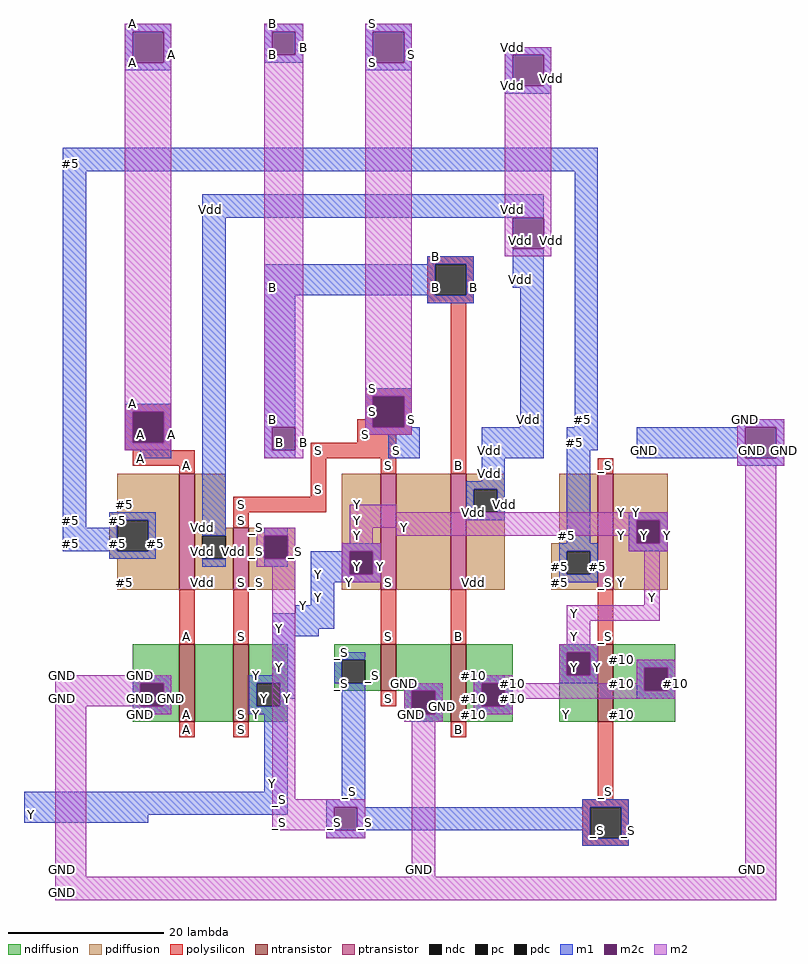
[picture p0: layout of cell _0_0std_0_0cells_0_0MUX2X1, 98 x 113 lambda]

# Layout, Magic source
magic
tech sky130l
<< ndiffusion >>
rect 23 31 29 36
rect 23 28 24 31
rect 27 28 29 31
rect 23 26 29 28
rect 31 26 36 36
rect 38 31 43 36
rect 38 28 39 31
rect 42 28 43 31
rect 49 34 55 36
rect 49 31 50 34
rect 53 31 55 34
rect 49 30 55 31
rect 57 30 64 36
rect 38 26 43 28
rect 58 27 59 30
rect 62 27 64 30
rect 58 26 64 27
rect 66 31 72 36
rect 66 28 68 31
rect 71 28 72 31
rect 66 26 72 28
rect 78 35 83 36
rect 78 32 79 35
rect 82 32 83 35
rect 78 26 83 32
rect 85 33 93 36
rect 85 30 89 33
rect 92 30 93 33
rect 85 26 93 30
<< ndc >>
rect 24 28 27 31
rect 39 28 42 31
rect 50 31 53 34
rect 59 27 62 30
rect 68 28 71 31
rect 79 32 82 35
rect 89 30 92 33
<< ntransistor >>
rect 29 26 31 36
rect 36 26 38 36
rect 55 30 57 36
rect 64 26 66 36
rect 83 26 85 36
<< pdiffusion >>
rect 21 53 29 58
rect 20 52 29 53
rect 20 48 21 52
rect 25 48 29 52
rect 20 47 29 48
rect 21 43 29 47
rect 31 51 35 58
rect 31 50 36 51
rect 31 47 32 50
rect 35 47 36 50
rect 31 43 36 47
rect 38 50 44 51
rect 38 47 40 50
rect 43 47 44 50
rect 38 43 44 47
rect 50 48 55 58
rect 50 45 51 48
rect 54 45 55 48
rect 50 43 55 45
rect 57 43 64 58
rect 66 56 71 58
rect 66 53 67 56
rect 70 53 71 56
rect 66 43 71 53
rect 78 49 83 58
rect 77 48 83 49
rect 77 45 79 48
rect 82 45 83 48
rect 77 43 83 45
rect 85 52 92 58
rect 85 49 88 52
rect 91 49 92 52
rect 85 43 92 49
<< pdc >>
rect 21 48 25 52
rect 32 47 35 50
rect 40 47 43 50
rect 51 45 54 48
rect 67 53 70 56
rect 79 45 82 48
rect 88 49 91 52
<< ptransistor >>
rect 29 43 31 58
rect 36 43 38 51
rect 55 43 57 58
rect 64 43 66 58
rect 83 43 85 58
<< polysilicon >>
rect 61 85 67 86
rect 61 81 62 85
rect 66 81 67 85
rect 61 80 67 81
rect 53 68 59 69
rect 22 66 28 67
rect 22 62 23 66
rect 27 62 28 66
rect 53 65 54 68
rect 52 64 54 65
rect 58 64 59 68
rect 52 63 59 64
rect 52 62 57 63
rect 22 61 28 62
rect 23 59 31 61
rect 29 58 31 59
rect 46 60 57 62
rect 46 55 48 60
rect 55 58 57 60
rect 64 58 66 80
rect 83 58 85 60
rect 36 53 48 55
rect 36 51 38 53
rect 29 36 31 43
rect 36 36 38 43
rect 55 36 57 43
rect 64 36 66 43
rect 83 36 85 43
rect 55 28 57 30
rect 29 24 31 26
rect 36 24 38 26
rect 64 24 66 26
rect 83 16 85 26
rect 81 15 87 16
rect 81 11 82 15
rect 86 11 87 15
rect 81 10 87 11
<< pc >>
rect 62 81 66 85
rect 23 62 27 66
rect 54 64 58 68
rect 82 11 86 15
<< m1 >>
rect 22 115 28 116
rect 22 111 23 115
rect 27 111 28 115
rect 40 115 45 116
rect 40 112 41 115
rect 44 112 45 115
rect 40 111 45 112
rect 53 115 59 116
rect 53 111 54 115
rect 58 111 59 115
rect 22 110 28 111
rect 53 110 59 111
rect 71 112 77 113
rect 71 108 72 112
rect 76 108 77 112
rect 71 107 77 108
rect 14 97 83 100
rect 14 51 17 97
rect 32 91 76 94
rect 22 66 28 67
rect 22 62 23 66
rect 27 62 28 66
rect 22 61 28 62
rect 24 60 28 61
rect 20 52 26 53
rect 20 51 21 52
rect 14 48 21 51
rect 25 48 26 52
rect 20 47 26 48
rect 32 50 35 91
rect 61 85 67 86
rect 40 81 62 85
rect 66 81 67 85
rect 72 82 76 87
rect 40 64 44 81
rect 61 80 67 81
rect 40 61 41 64
rect 53 68 59 69
rect 53 64 54 68
rect 58 64 59 68
rect 73 64 76 82
rect 80 64 83 97
rect 101 64 107 65
rect 53 63 60 64
rect 40 60 44 61
rect 56 60 60 63
rect 68 60 76 64
rect 79 61 83 64
rect 68 57 71 60
rect 66 56 71 57
rect 66 53 67 56
rect 70 53 71 56
rect 66 52 71 53
rect 32 46 35 47
rect 40 50 43 51
rect 79 49 82 61
rect 88 60 102 64
rect 106 60 107 64
rect 101 59 107 60
rect 87 52 92 53
rect 87 49 88 52
rect 91 49 92 52
rect 50 48 55 49
rect 40 46 43 47
rect 46 45 51 48
rect 54 45 55 48
rect 46 44 55 45
rect 78 48 83 49
rect 87 48 92 49
rect 78 45 79 48
rect 82 45 83 48
rect 78 44 83 45
rect 46 41 49 44
rect 44 40 49 41
rect 41 38 49 40
rect 41 37 47 38
rect 41 32 44 37
rect 78 35 83 36
rect 50 34 53 35
rect 23 31 28 32
rect 23 28 24 31
rect 27 28 28 31
rect 23 27 28 28
rect 38 31 44 32
rect 49 31 50 34
rect 78 32 79 35
rect 82 32 83 35
rect 67 31 71 32
rect 78 31 83 32
rect 88 33 93 34
rect 38 28 39 31
rect 42 29 44 31
rect 42 28 43 29
rect 38 27 43 28
rect 40 17 43 27
rect 9 14 43 17
rect 50 16 53 31
rect 58 30 63 31
rect 58 27 59 30
rect 62 27 63 30
rect 67 28 68 31
rect 71 28 72 31
rect 88 30 89 33
rect 92 30 93 33
rect 88 29 93 30
rect 67 27 72 28
rect 58 26 63 27
rect 48 15 53 16
rect 81 15 87 16
rect 9 13 25 14
rect 48 12 49 15
rect 52 12 82 15
rect 48 11 53 12
rect 81 11 82 12
rect 86 11 87 15
rect 81 10 87 11
<< m2c >>
rect 23 111 27 115
rect 41 112 44 115
rect 54 111 58 115
rect 72 108 76 112
rect 23 62 27 66
rect 72 87 76 91
rect 41 61 44 64
rect 54 64 58 68
rect 40 47 43 50
rect 102 60 106 64
rect 88 49 91 52
rect 51 45 54 48
rect 24 28 27 31
rect 79 32 82 35
rect 59 27 62 30
rect 68 28 71 31
rect 89 30 92 33
rect 49 12 52 15
<< m2 >>
rect 22 115 28 116
rect 22 111 23 115
rect 27 111 28 115
rect 22 66 28 111
rect 22 62 23 66
rect 27 62 28 66
rect 22 61 28 62
rect 40 115 45 116
rect 40 112 41 115
rect 44 112 45 115
rect 40 64 45 112
rect 40 61 41 64
rect 44 61 45 64
rect 53 115 59 116
rect 53 111 54 115
rect 58 111 59 115
rect 53 68 59 111
rect 71 112 77 113
rect 71 108 72 112
rect 76 108 77 112
rect 71 91 77 108
rect 71 87 72 91
rect 76 87 77 91
rect 71 86 77 87
rect 53 64 54 68
rect 58 64 59 68
rect 53 63 59 64
rect 101 64 107 65
rect 40 60 45 61
rect 101 60 102 64
rect 106 60 107 64
rect 101 59 107 60
rect 51 53 57 54
rect 51 52 92 53
rect 51 51 88 52
rect 39 50 44 51
rect 39 47 40 50
rect 43 47 44 50
rect 51 49 54 51
rect 57 50 88 51
rect 87 49 88 50
rect 91 49 92 52
rect 39 46 44 47
rect 13 31 28 32
rect 13 28 24 31
rect 27 28 28 31
rect 13 6 17 28
rect 23 27 28 28
rect 41 16 44 46
rect 50 48 55 49
rect 87 48 92 49
rect 50 45 51 48
rect 54 45 55 48
rect 50 44 55 45
rect 89 41 91 48
rect 79 39 91 41
rect 79 36 82 39
rect 78 35 83 36
rect 78 32 79 35
rect 82 32 83 35
rect 67 31 72 32
rect 78 31 83 32
rect 88 33 93 34
rect 88 31 89 33
rect 58 30 63 31
rect 58 27 59 30
rect 62 27 63 30
rect 67 28 68 31
rect 71 30 89 31
rect 92 30 93 33
rect 71 29 93 30
rect 71 28 72 29
rect 67 27 72 28
rect 58 26 63 27
rect 41 15 53 16
rect 41 12 49 15
rect 52 12 53 15
rect 48 11 53 12
rect 59 6 62 26
rect 102 6 106 59
rect 13 3 106 6
<< labels >>
rlabel polysilicon 65 59 65 59 3 B
rlabel polysilicon 62 82 62 82 3 B
rlabel ndiffusion 86 27 86 27 3 #10
rlabel ndiffusion 86 31 86 31 3 #10
rlabel ndiffusion 86 34 86 34 3 #10
rlabel polysilicon 84 37 84 37 3 _S
rlabel pdiffusion 86 44 86 44 3 Y
rlabel pdiffusion 86 50 86 50 3 Y
rlabel pdiffusion 86 53 86 53 3 Y
rlabel polysilicon 84 59 84 59 3 _S
rlabel ntransistor 84 27 84 27 3 _S
rlabel ptransistor 84 44 84 44 3 _S
rlabel pdiffusion 79 50 79 50 3 #5
rlabel pdiffusion 67 44 67 44 3 Vdd
rlabel polysilicon 54 66 54 66 3 S
rlabel ndiffusion 79 27 79 27 3 Y
rlabel pdiffusion 78 44 78 44 3 #5
rlabel pdiffusion 78 46 78 46 3 #5
rlabel pdiffusion 78 49 78 49 3 #5
rlabel ndiffusion 58 31 58 31 3 GND
rlabel polysilicon 65 37 65 37 3 B
rlabel ptransistor 65 44 65 44 3 B
rlabel polysilicon 56 59 56 59 3 S
rlabel polysilicon 53 63 53 63 3 S
rlabel polysilicon 53 64 53 64 3 S
rlabel polysilicon 53 65 53 65 3 S
rlabel polysilicon 56 29 56 29 3 S
rlabel ntransistor 56 31 56 31 3 S
rlabel ndiffusion 67 27 67 27 3 #10
rlabel ndiffusion 67 29 67 29 3 #10
rlabel ndiffusion 67 32 67 32 3 #10
rlabel ndiffusion 50 31 50 31 3 _S
rlabel ndiffusion 54 32 54 32 3 _S
rlabel polysilicon 56 37 56 37 3 S
rlabel ptransistor 56 44 56 44 3 S
rlabel ntransistor 65 27 65 27 3 B
rlabel pdiffusion 51 44 51 44 3 Y
rlabel polysilicon 47 56 47 56 3 S
rlabel polysilicon 47 61 47 61 3 S
rlabel ndiffusion 50 35 50 35 3 _S
rlabel polysilicon 65 25 65 25 3 B
rlabel ndiffusion 39 27 39 27 3 Y
rlabel polysilicon 37 37 37 37 3 S
rlabel polysilicon 84 17 84 17 3 _S
rlabel polysilicon 37 25 37 25 3 S
rlabel ntransistor 37 27 37 27 3 S
rlabel pdiffusion 39 44 39 44 3 _S
rlabel pdiffusion 39 48 39 48 3 _S
rlabel pdiffusion 39 51 39 51 3 _S
rlabel pdiffusion 36 48 36 48 3 Vdd
rlabel polysilicon 37 52 37 52 3 S
rlabel polysilicon 37 54 37 54 3 S
rlabel polysilicon 30 59 30 59 3 A
rlabel polysilicon 30 37 30 37 3 A
rlabel ptransistor 37 44 37 44 3 S
rlabel polysilicon 30 25 30 25 3 A
rlabel ntransistor 30 27 30 27 3 A
rlabel pdiffusion 32 44 32 44 3 Vdd
rlabel pdiffusion 32 48 32 48 3 Vdd
rlabel pdiffusion 32 51 32 51 3 Vdd
rlabel pdiffusion 32 52 32 52 3 Vdd
rlabel polysilicon 24 60 24 60 3 A
rlabel ndiffusion 24 27 24 27 3 GND
rlabel ptransistor 30 44 30 44 3 A
rlabel pdiffusion 22 44 22 44 3 #5
rlabel pdiffusion 22 54 22 54 3 #5
rlabel pdiffusion 21 49 21 49 3 #5
rlabel m1 81 65 81 65 3 #5
rlabel m1 74 65 74 65 3 Vdd
rlabel m1 89 61 89 61 3 GND
rlabel m1 73 83 73 83 3 Vdd
rlabel m1 83 46 83 46 3 #5
rlabel m1 88 53 88 53 3 Y
port 1 e
rlabel m1 80 62 80 62 3 #5
rlabel pdc 80 46 80 46 3 #5
rlabel m1 80 50 80 50 3 #5
rlabel m1 72 108 72 108 3 Vdd
rlabel m1 79 46 79 46 3 #5
rlabel m1 79 49 79 49 3 #5
rlabel m1 71 54 71 54 3 Vdd
rlabel m1 69 58 69 58 3 Vdd
rlabel m1 69 61 69 61 3 Vdd
rlabel pdc 68 54 68 54 3 Vdd
rlabel m1 67 53 67 53 3 Vdd
rlabel m1 67 54 67 54 3 Vdd
rlabel m1 67 57 67 57 3 Vdd
rlabel m1 62 86 62 86 3 B
port 2 e
rlabel m1 62 81 62 81 3 B
port 2 e
rlabel m1 79 45 79 45 3 #5
rlabel m1 57 61 57 61 3 S
port 3 e
rlabel m1 54 111 54 111 3 S
port 3 e
rlabel ndc 51 32 51 32 3 _S
rlabel m1 51 35 51 35 3 _S
rlabel m1 50 32 50 32 3 _S
rlabel m1 47 42 47 42 3 Y
port 1 e
rlabel m1 47 45 47 45 3 Y
port 1 e
rlabel m1 47 46 47 46 3 Y
port 1 e
rlabel m1 45 41 45 41 3 Y
port 1 e
rlabel m1 89 30 89 30 3 #10
rlabel m1 89 31 89 31 3 #10
rlabel m1 67 82 67 82 3 B
port 2 e
rlabel m1 42 33 42 33 3 Y
port 1 e
rlabel m1 42 38 42 38 3 Y
port 1 e
rlabel m1 42 39 42 39 3 Y
port 1 e
rlabel pc 63 82 63 82 3 B
port 2 e
rlabel m1 87 12 87 12 3 _S
rlabel m1 43 29 43 29 3 Y
port 1 e
rlabel m1 43 30 43 30 3 Y
port 1 e
rlabel m1 41 47 41 47 3 _S
rlabel m1 41 51 41 51 3 _S
rlabel m1 41 82 41 82 3 B
port 2 e
rlabel m1 41 112 41 112 3 B
port 2 e
rlabel pc 83 12 83 12 3 _S
rlabel ndc 40 29 40 29 3 Y
port 1 e
rlabel m1 82 11 82 11 3 _S
rlabel m1 82 12 82 12 3 _S
rlabel m1 39 29 39 29 3 Y
port 1 e
rlabel m1 39 32 39 32 3 Y
port 1 e
rlabel m1 49 13 49 13 3 _S
rlabel m1 25 61 25 61 3 A
port 4 e
rlabel m1 33 92 33 92 3 Vdd
rlabel m1 41 18 41 18 3 Y
port 1 e
rlabel m1 39 28 39 28 3 Y
port 1 e
rlabel m1 33 47 33 47 3 Vdd
rlabel pdc 33 48 33 48 3 Vdd
rlabel m1 33 51 33 51 3 Vdd
rlabel m1 82 16 82 16 3 _S
rlabel m1 24 29 24 29 3 GND
rlabel m1 24 32 24 32 3 GND
rlabel m1 51 17 51 17 3 _S
rlabel m1 26 49 26 49 3 #5
rlabel m1 21 52 21 52 3 #5
rlabel m1 21 53 21 53 3 #5
rlabel m1 23 111 23 111 3 A
port 4 e
rlabel m1 49 16 49 16 3 _S
rlabel m1 21 48 21 48 3 #5
rlabel pdc 22 49 22 49 3 #5
rlabel m1 15 49 15 49 3 #5
rlabel m1 15 52 15 52 3 #5
rlabel m1 15 98 15 98 3 #5
rlabel m1 10 14 10 14 3 Y
port 1 e
rlabel m1 10 15 10 15 3 Y
port 1 e
rlabel m2 103 7 103 7 3 GND
rlabel m2 89 34 89 34 3 #10
rlabel m2 90 42 90 42 3 Y
port 1 e
rlabel m2 92 50 92 50 3 Y
port 1 e
rlabel m2 93 31 93 31 3 #10
rlabel m2c 89 50 89 50 3 Y
port 1 e
rlabel m2c 90 31 90 31 3 #10
rlabel m2 88 49 88 49 3 Y
port 1 e
rlabel m2 88 50 88 50 3 Y
port 1 e
rlabel m2 72 29 72 29 3 #10
rlabel m2 72 30 72 30 3 #10
rlabel m2 72 31 72 31 3 #10
rlabel m2 89 32 89 32 3 #10
rlabel m2 83 33 83 33 3 Y
port 1 e
rlabel m2c 69 29 69 29 3 #10
rlabel m2c 80 33 80 33 3 Y
port 1 e
rlabel m2 80 37 80 37 3 Y
port 1 e
rlabel m2 80 40 80 40 3 Y
port 1 e
rlabel m2 68 28 68 28 3 #10
rlabel m2 68 29 68 29 3 #10
rlabel m2 79 32 79 32 3 Y
port 1 e
rlabel m2 79 33 79 33 3 Y
port 1 e
rlabel m2 79 36 79 36 3 Y
port 1 e
rlabel m2 55 46 55 46 3 Y
port 1 e
rlabel m2 77 88 77 88 3 Vdd
rlabel m2 77 109 77 109 3 Vdd
rlabel m2 72 113 72 113 3 Vdd
rlabel m2 60 7 60 7 3 GND
rlabel m2 63 28 63 28 3 GND
rlabel m2 68 32 68 32 3 #10
rlabel m2c 52 46 52 46 3 Y
port 1 e
rlabel m2c 73 88 73 88 3 Vdd
rlabel m2c 73 109 73 109 3 Vdd
rlabel m2c 60 28 60 28 3 GND
rlabel m2 51 45 51 45 3 Y
port 1 e
rlabel m2 51 46 51 46 3 Y
port 1 e
rlabel m2 59 65 59 65 3 S
port 3 e
rlabel m2 72 87 72 87 3 Vdd
rlabel m2 72 88 72 88 3 Vdd
rlabel m2 72 92 72 92 3 Vdd
rlabel m2 72 109 72 109 3 Vdd
rlabel m2 59 112 59 112 3 S
port 3 e
rlabel m2 53 13 53 13 3 _S
rlabel m2 59 27 59 27 3 GND
rlabel m2 59 28 59 28 3 GND
rlabel m2 59 31 59 31 3 GND
rlabel m2 58 51 58 51 3 Y
port 1 e
rlabel m2 107 61 107 61 3 GND
rlabel m2c 55 65 55 65 3 S
port 3 e
rlabel m2c 55 112 55 112 3 S
port 3 e
rlabel m2 49 12 49 12 3 _S
rlabel m2c 50 13 50 13 3 _S
rlabel m2 52 50 52 50 3 Y
port 1 e
rlabel m2c 103 61 103 61 3 GND
rlabel m2 54 64 54 64 3 S
port 3 e
rlabel m2 54 65 54 65 3 S
port 3 e
rlabel m2 54 69 54 69 3 S
port 3 e
rlabel m2 54 112 54 112 3 S
port 3 e
rlabel m2 45 113 45 113 3 B
port 2 e
rlabel m2 42 13 42 13 3 _S
rlabel m2 42 16 42 16 3 _S
rlabel m2 42 17 42 17 3 _S
rlabel m2 51 49 51 49 3 Y
port 1 e
rlabel m2 102 60 102 60 3 GND
rlabel m2 102 61 102 61 3 GND
rlabel m2 102 65 102 65 3 GND
rlabel m2c 42 113 42 113 3 B
port 2 e
rlabel m2 45 62 45 62 3 B
port 2 e
rlabel m2 41 65 41 65 3 B
port 2 e
rlabel m2 41 113 41 113 3 B
port 2 e
rlabel m2 54 116 54 116 3 S
port 3 e
rlabel m2 44 48 44 48 3 _S
rlabel m2 52 52 52 52 3 Y
port 1 e
rlabel m2 52 53 52 53 3 Y
port 1 e
rlabel m2 52 54 52 54 3 Y
port 1 e
rlabel m2c 42 62 42 62 3 B
port 2 e
rlabel m2 24 28 24 28 3 GND
rlabel m2c 41 48 41 48 3 _S
rlabel m2 41 61 41 61 3 B
port 2 e
rlabel m2 41 62 41 62 3 B
port 2 e
rlabel m2 28 63 28 63 3 A
port 4 e
rlabel m2 28 112 28 112 3 A
port 4 e
rlabel m2 41 116 41 116 3 B
port 2 e
rlabel m2 28 29 28 29 3 GND
rlabel m2 40 47 40 47 3 _S
rlabel m2 40 48 40 48 3 _S
rlabel m2 40 51 40 51 3 _S
rlabel m2c 24 63 24 63 3 A
port 4 e
rlabel m2c 24 112 24 112 3 A
port 4 e
rlabel m2c 25 29 25 29 3 GND
rlabel m2 23 62 23 62 3 A
port 4 e
rlabel m2 23 63 23 63 3 A
port 4 e
rlabel m2 23 67 23 67 3 A
port 4 e
rlabel m2 23 112 23 112 3 A
port 4 e
rlabel m2 23 116 23 116 3 A
port 4 e
rlabel m2 14 4 14 4 3 GND
rlabel m2 14 7 14 7 3 GND
rlabel m2 14 29 14 29 3 GND
rlabel m2 14 32 14 32 3 GND
<< end >>
